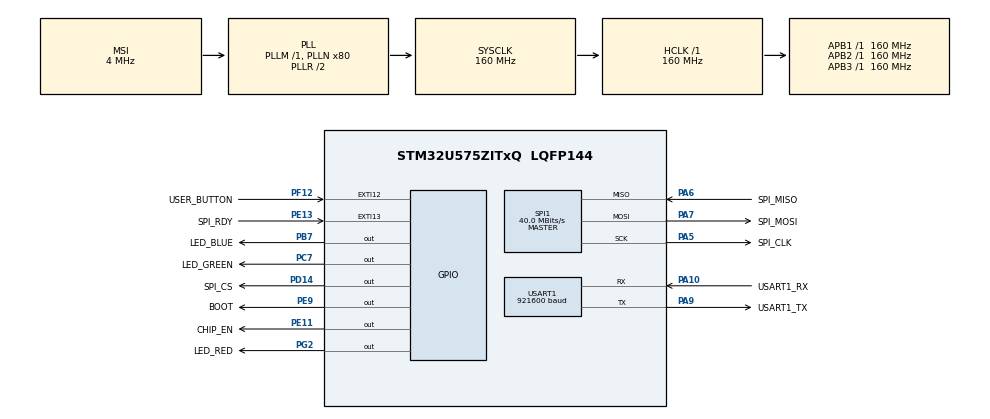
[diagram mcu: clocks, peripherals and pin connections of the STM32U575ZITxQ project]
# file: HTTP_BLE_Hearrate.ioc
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CORTEX_M33_NS.userName=CORTEX_M33
ICACHE.BAR=external_2
ICACHE.Region=ICACHE_REGION_0
Mcu.Family=STM32U5
Mcu.Name=STM32U575ZITxQ
Mcu.Package=LQFP144
NVIC.EXTI12_IRQn=true\:0\:0\:false\:false\:true\:true\:true\:true
NVIC.EXTI13_IRQn=true\:0\:0\:false\:false\:true\:true\:true\:true
NVIC.PriorityGroup=NVIC_PRIORITYGROUP_4
NVIC.TIM1_UP_IRQn=true\:0\:0\:false\:false\:true\:true\:true\:true
NVIC.USART1_IRQn=true\:7\:0\:true\:false\:true\:true\:true\:true
PA10.GPIO_Label=USART1_RX
PA10.GPIO_PuPd=GPIO_NOPULL
PA10.GPIO_Speed=GPIO_SPEED_FREQ_VERY_HIGH
PA10.Mode=Asynchronous
PA10.Signal=USART1_RX
PA13\ (JTMS/SWDIO).Mode=Trace_Asynchronous_SW
PA13\ (JTMS/SWDIO).Signal=DEBUG_JTMS-SWDIO
PA14\ (JTCK/SWCLK).Mode=Trace_Asynchronous_SW
PA14\ (JTCK/SWCLK).Signal=DEBUG_JTCK-SWCLK
PA5.GPIO_Label=SPI_CLK
PA5.GPIO_Speed=GPIO_SPEED_FREQ_VERY_HIGH
PA5.Mode=Full_Duplex_Master
PA5.Signal=SPI1_SCK
PA6.GPIO_Label=SPI_MISO
PA6.GPIO_Speed=GPIO_SPEED_FREQ_VERY_HIGH
PA6.Mode=Full_Duplex_Master
PA6.Signal=SPI1_MISO
PA7.GPIO_Label=SPI_MOSI
PA7.GPIO_Speed=GPIO_SPEED_FREQ_VERY_HIGH
PA7.Mode=Full_Duplex_Master
PA7.Signal=SPI1_MOSI
PA9.GPIO_Label=USART1_TX
PA9.GPIO_PuPd=GPIO_NOPULL
PA9.GPIO_Speed=GPIO_SPEED_FREQ_VERY_HIGH
PA9.Mode=Asynchronous
PA9.Signal=USART1_TX
PB3\ (JTDO/TRACESWO).Mode=Trace_Asynchronous_SW
PB3\ (JTDO/TRACESWO).Signal=DEBUG_JTDO-SWO
PB7.GPIO_Label=LED_BLUE
PB7.GPIO_ModeDefaultOutputPP=GPIO_MODE_OUTPUT_PP
PB7.GPIO_PuPd=GPIO_NOPULL
PB7.GPIO_Speed=GPIO_SPEED_FREQ_LOW
PB7.Signal=GPIO_Output
PC14-OSC32_IN\ (PC14).Mode=LSE-External-Oscillator
PC14-OSC32_IN\ (PC14).Signal=RCC_OSC32_IN
PC15-OSC32_OUT\ (PC15).Mode=LSE-External-Oscillator
PC15-OSC32_OUT\ (PC15).Signal=RCC_OSC32_OUT
PC7.GPIO_Label=LED_GREEN
PC7.GPIO_PuPd=GPIO_NOPULL
PC7.GPIO_Speed=GPIO_SPEED_FREQ_LOW
PC7.Signal=GPIO_Output
PD14.GPIO_Label=SPI_CS
PD14.GPIO_PuPd=GPIO_NOPULL
PD14.GPIO_Speed=GPIO_SPEED_FREQ_HIGH
PD14.Signal=GPIO_Output
PE11.GPIO_Label=CHIP_EN
PE11.GPIO_Speed=GPIO_SPEED_FREQ_HIGH
PE11.Signal=GPIO_Output
PE13.GPIO_Label=SPI_RDY
PE13.GPIO_ModeDefaultEXTI=GPIO_MODE_IT_RISING_FALLING
PE13.Signal=GPXTI13
PE9.GPIO_Label=BOOT
PE9.Signal=GPIO_Output
PF12.GPIO_Label=USER_BUTTON
PF12.GPIO_ModeDefaultEXTI=GPIO_MODE_IT_FALLING
PF12.GPIO_PuPd=GPIO_PULLUP
PF12.Signal=GPXTI12
PG2.GPIO_Label=LED_RED
PG2.GPIO_ModeDefaultOutputPP=GPIO_MODE_OUTPUT_PP
PG2.GPIO_PuPd=GPIO_NOPULL
PG2.GPIO_Speed=GPIO_SPEED_FREQ_LOW
PG2.Signal=GPIO_Output
PWR.PowerMode=PWR_SMPS_SUPPLY
ProjectManager.HeapSize=0x200
ProjectManager.StackSize=0x400
ProjectManager.TargetToolchain=STM32CubeIDE
RCC.ADCFreq_Value=16000000
RCC.AHBFreq_Value=160000000
RCC.APB1Freq_Value=160000000
RCC.APB1TimFreq_Value=160000000
RCC.APB2Freq_Value=160000000
RCC.APB2TimFreq_Value=160000000
RCC.APB3Freq_Value=160000000
RCC.CortexFreq_Value=160000000
RCC.DACCLockSelectionVirtual=RCC_DAC1CLKSOURCE_LSI
RCC.EPOD_VALUE=4000000
RCC.HCLKFreq_Value=160000000
RCC.HSE_VALUE=16000000
RCC.HSI48_VALUE=48000000
RCC.HSI_VALUE=16000000
RCC.LPTIM1CLockSelectionVirtual=RCC_LPTIM1CLKSOURCE_LSE
RCC.LSIDIV_VALUE=32000
RCC.MSI_VALUE=4000000
RCC.PLLN=80
RCC.SYSCLKFreq_VALUE=160000000
RCC.SYSCLKSource=RCC_SYSCLKSOURCE_PLLCLK
RCC.USBFreq_Value=48000000
RCC.VCOOutputFreq_Value=320000000
SPI1.BaudRatePrescaler=SPI_BAUDRATEPRESCALER_4
SPI1.CalculateBaudRate=40.0 MBits/s
SPI1.DataSize=SPI_DATASIZE_8BIT
SPI1.Direction=SPI_DIRECTION_2LINES
SPI1.Mode=SPI_MODE_MASTER
SPI1.VirtualType=VM_MASTER
TIM1.AutoReloadPreload=TIM_AUTORELOAD_PRELOAD_ENABLE
TIM1.PeriodNoDither=9999
TIM1.Prescaler=15999
USART1.BaudRate=921600
USART1.FIFOMode=FIFOMODE_ENABLE
USART1.TXFIFOThreshold=TXFIFO_THRESHOLD_EMPTY
USART1.VirtualMode-Asynchronous=VM_ASYNC
VP_ICACHE_VS_ENABLE_ICACHE_MEMORY.Mode=Memoryregions
VP_ICACHE_VS_ICACHE.Mode=DirectMappedCache
VP_LPBAMQUEUE_VS_QUEUE.Mode=QUEUEMODE
VP_LPBAM_VS_SIG1.Mode=SmartRun
VP_LPBAM_VS_SIG4.Mode=LPDMA1
VP_MEMORYMAP_VS_MEMORYMAP.Mode=CurAppReg
VP_PWR_VS_DBSignals.Mode=DisableDeadBatterySignals
VP_PWR_VS_LPOM.Mode=PowerOptimisation
VP_PWR_VS_SECSignals.Mode=Security/Privilege
VP_TIM1_VS_ClockSourceINT.Mode=Internal
board=NUCLEO-U575ZI-Q

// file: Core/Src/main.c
/* USER CODE BEGIN Header */
/**
  ******************************************************************************
  * @file           : main.c
  * @brief          : Main program body
  ******************************************************************************
  * @attention
  *
  * Copyright (c) 2025 STMicroelectronics.
  * All rights reserved.
  *
  * This software is licensed under terms that can be found in the LICENSE file
  * in the root directory of this software component.
  * If no LICENSE file comes with this software, it is provided AS-IS.
  *
  ******************************************************************************
  */
/* USER CODE END Header */
#include "main.h"

/* USER CODE BEGIN Includes */
#include "spi_iface.h"
#include "heartrate.h"

/* USER CODE END Includes */

SPI_HandleTypeDef hspi1;

TIM_HandleTypeDef htim1;

UART_HandleTypeDef huart1;

/* USER CODE BEGIN PV */
volatile uint8_t wait_for_ip_report = 0;
volatile uint8_t data_received_event = 0;
volatile uint8_t tim_update_event = 0;
char *data_received_ptr = NULL;

/* USER CODE END PV */

void SystemClock_Config(void);
static void SystemPower_Config(void);
static void MX_GPIO_Init(void);
static void MX_ICACHE_Init(void);
static void MX_SPI1_Init(void);
static void MX_USART1_UART_Init(void);
static void MX_TIM1_Init(void);
/* USER CODE BEGIN PFP */
static void report_callback(char *report, int32_t report_len);
void parse_data_received_event(char *data, uint32_t *socket_id, uint32_t *data_len);

/* USER CODE END PFP */

/* USER CODE BEGIN 0 */
#if defined(__ICCARM__)
size_t __write(int file, unsigned char const *ptr, size_t len)
{
  size_t idx;
  unsigned char const *pdata = ptr;
  /* USER CODE BEGIN __write_1 */

  /* USER CODE END __write_1 */

  HAL_UART_Transmit(&huart2, pdata, len, 10000);
  return len;
  /* USER CODE BEGIN __write_End */

  /* USER CODE END __write_End */
}
#else

#if defined ( __GNUC__) && !defined(__clang__)
/* With GCC, small printf (option LD Linker->Libraries->Small printf
   set to 'Yes') calls __io_putchar() */
#define PUTCHAR_PROTOTYPE int __io_putchar(int ch)
#else
#define PUTCHAR_PROTOTYPE int fputc(int ch, FILE *f)
#endif

PUTCHAR_PROTOTYPE
{
  /* USER CODE BEGIN PUTCHAR_PROTOTYPE_1 */

  /* USER CODE END PUTCHAR_PROTOTYPE_1 */
  HAL_UART_Transmit(&huart1, (unsigned char *)&ch, 1, 1000);
  return ch;
  /* USER CODE BEGIN PUTCHAR_PROTOTYPE_End */

  /* USER CODE END PUTCHAR_PROTOTYPE_End */
}
#endif /* __ICCARM__ */

/* USER CODE END 0 */

int main(void)
{

  /* MCU Configuration--------------------------------------------------------*/

  /* Reset of all peripherals, Initializes the Flash interface and the Systick. */
  HAL_Init();

  /* Configure the System Power */
  SystemPower_Config();

  /* Configure the system clock */
  SystemClock_Config();

  /* Initialize all configured peripherals */
  MX_GPIO_Init();
  MX_ICACHE_Init();
  MX_SPI1_Init();
  MX_USART1_UART_Init();
  MX_TIM1_Init();
  /* USER CODE BEGIN 2 */
  int32_t ret = 0;
  char *resp = NULL;

  ret = spi_iface_init(&report_callback);

  spi_iface_command("AT+PWR=0", &resp);
  free(resp);

  HRSAPP_Init();
  HAL_TIM_Base_Start_IT(&htim1);

  /* USER CODE END 2 */

  /* Infinite loop */
  /* USER CODE BEGIN WHILE */
  uint32_t socket_id, data_len;

  while (1)
  {
	  if (data_received_event)
	  {
		  parse_data_received_event(data_received_ptr, &socket_id, &data_len);

		  free(data_received_ptr);
		  data_received_ptr = NULL;
		  data_received_event = 0;

		  HRSAPP_Http_Request(socket_id, data_len);
	  }
	  if (tim_update_event)
	  {
		  HRSAPP_Measurement();
		  tim_update_event = 0;
	  }
    /* USER CODE END WHILE */

  }
}

void SystemClock_Config(void)
{
  RCC_OscInitTypeDef RCC_OscInitStruct = {0};
  RCC_ClkInitTypeDef RCC_ClkInitStruct = {0};

  /** Configure the main internal regulator output voltage
  */
  if (HAL_PWREx_ControlVoltageScaling(PWR_REGULATOR_VOLTAGE_SCALE1) != HAL_OK)
  {
    Error_Handler();
  }

  /** Initializes the CPU, AHB and APB buses clocks
  */
  RCC_OscInitStruct.OscillatorType = RCC_OSCILLATORTYPE_MSI;
  RCC_OscInitStruct.MSIState = RCC_MSI_ON;
  RCC_OscInitStruct.MSICalibrationValue = RCC_MSICALIBRATION_DEFAULT;
  RCC_OscInitStruct.MSIClockRange = RCC_MSIRANGE_4;
  RCC_OscInitStruct.PLL.PLLState = RCC_PLL_ON;
  RCC_OscInitStruct.PLL.PLLSource = RCC_PLLSOURCE_MSI;
  RCC_OscInitStruct.PLL.PLLMBOOST = RCC_PLLMBOOST_DIV1;
  RCC_OscInitStruct.PLL.PLLM = 1;
  RCC_OscInitStruct.PLL.PLLN = 80;
  RCC_OscInitStruct.PLL.PLLP = 2;
  RCC_OscInitStruct.PLL.PLLQ = 2;
  RCC_OscInitStruct.PLL.PLLR = 2;
  RCC_OscInitStruct.PLL.PLLRGE = RCC_PLLVCIRANGE_0;
  RCC_OscInitStruct.PLL.PLLFRACN = 0;
  if (HAL_RCC_OscConfig(&RCC_OscInitStruct) != HAL_OK)
  {
    Error_Handler();
  }

  /** Initializes the CPU, AHB and APB buses clocks
  */
  RCC_ClkInitStruct.ClockType = RCC_CLOCKTYPE_HCLK|RCC_CLOCKTYPE_SYSCLK
                              |RCC_CLOCKTYPE_PCLK1|RCC_CLOCKTYPE_PCLK2
                              |RCC_CLOCKTYPE_PCLK3;
  RCC_ClkInitStruct.SYSCLKSource = RCC_SYSCLKSOURCE_PLLCLK;
  RCC_ClkInitStruct.AHBCLKDivider = RCC_SYSCLK_DIV1;
  RCC_ClkInitStruct.APB1CLKDivider = RCC_HCLK_DIV1;
  RCC_ClkInitStruct.APB2CLKDivider = RCC_HCLK_DIV1;
  RCC_ClkInitStruct.APB3CLKDivider = RCC_HCLK_DIV1;

  if (HAL_RCC_ClockConfig(&RCC_ClkInitStruct, FLASH_LATENCY_4) != HAL_OK)
  {
    Error_Handler();
  }
}

/**
  * @brief Power Configuration
  * @retval None
  */
static void SystemPower_Config(void)
{
  HAL_PWREx_EnableVddIO2();

  /*
   * Disable the internal Pull-Up in Dead Battery pins of UCPD peripheral
   */
  HAL_PWREx_DisableUCPDDeadBattery();

  /*
   * Switch to SMPS regulator instead of LDO
   */
  if (HAL_PWREx_ConfigSupply(PWR_SMPS_SUPPLY) != HAL_OK)
  {
    Error_Handler();
  }
}

static void MX_ICACHE_Init(void)
{

  ICACHE_RegionConfigTypeDef pRegionConfig = {0};

  /** Configure and enable region 0 for memory remapping
  */
  pRegionConfig.BaseAddress = 0x10000000;
  pRegionConfig.RemapAddress = 0x60000000;
  pRegionConfig.Size = ICACHE_REGIONSIZE_2MB;
  pRegionConfig.TrafficRoute = ICACHE_MASTER1_PORT;
  pRegionConfig.OutputBurstType = ICACHE_OUTPUT_BURST_WRAP;
  if (HAL_ICACHE_EnableRemapRegion(ICACHE_REGION_0, &pRegionConfig) != HAL_OK)
  {
    Error_Handler();
  }

  /** Enable instruction cache in 1-way (direct mapped cache)
  */
  if (HAL_ICACHE_ConfigAssociativityMode(ICACHE_1WAY) != HAL_OK)
  {
    Error_Handler();
  }
  if (HAL_ICACHE_Enable() != HAL_OK)
  {
    Error_Handler();
  }

}

static void MX_SPI1_Init(void)
{

  SPI_AutonomousModeConfTypeDef HAL_SPI_AutonomousMode_Cfg_Struct = {0};

  /* SPI1 parameter configuration*/
  hspi1.Instance = SPI1;
  hspi1.Init.Mode = SPI_MODE_MASTER;
  hspi1.Init.Direction = SPI_DIRECTION_2LINES;
  hspi1.Init.DataSize = SPI_DATASIZE_8BIT;
  hspi1.Init.CLKPolarity = SPI_POLARITY_LOW;
  hspi1.Init.CLKPhase = SPI_PHASE_1EDGE;
  hspi1.Init.NSS = SPI_NSS_SOFT;
  hspi1.Init.BaudRatePrescaler = SPI_BAUDRATEPRESCALER_4;
  hspi1.Init.FirstBit = SPI_FIRSTBIT_MSB;
  hspi1.Init.TIMode = SPI_TIMODE_DISABLE;
  hspi1.Init.CRCCalculation = SPI_CRCCALCULATION_DISABLE;
  hspi1.Init.CRCPolynomial = 0x7;
  hspi1.Init.NSSPMode = SPI_NSS_PULSE_ENABLE;
  hspi1.Init.NSSPolarity = SPI_NSS_POLARITY_LOW;
  hspi1.Init.FifoThreshold = SPI_FIFO_THRESHOLD_01DATA;
  hspi1.Init.MasterSSIdleness = SPI_MASTER_SS_IDLENESS_00CYCLE;
  hspi1.Init.MasterInterDataIdleness = SPI_MASTER_INTERDATA_IDLENESS_00CYCLE;
  hspi1.Init.MasterReceiverAutoSusp = SPI_MASTER_RX_AUTOSUSP_DISABLE;
  hspi1.Init.MasterKeepIOState = SPI_MASTER_KEEP_IO_STATE_DISABLE;
  hspi1.Init.IOSwap = SPI_IO_SWAP_DISABLE;
  hspi1.Init.ReadyMasterManagement = SPI_RDY_MASTER_MANAGEMENT_INTERNALLY;
  hspi1.Init.ReadyPolarity = SPI_RDY_POLARITY_HIGH;
  if (HAL_SPI_Init(&hspi1) != HAL_OK)
  {
    Error_Handler();
  }
  HAL_SPI_AutonomousMode_Cfg_Struct.TriggerState = SPI_AUTO_MODE_DISABLE;
  HAL_SPI_AutonomousMode_Cfg_Struct.TriggerSelection = SPI_GRP1_GPDMA_CH0_TCF_TRG;
  HAL_SPI_AutonomousMode_Cfg_Struct.TriggerPolarity = SPI_TRIG_POLARITY_RISING;
  if (HAL_SPIEx_SetConfigAutonomousMode(&hspi1, &HAL_SPI_AutonomousMode_Cfg_Struct) != HAL_OK)
  {
    Error_Handler();
  }

}

static void MX_TIM1_Init(void)
{

  TIM_ClockConfigTypeDef sClockSourceConfig = {0};
  TIM_MasterConfigTypeDef sMasterConfig = {0};

  htim1.Instance = TIM1;
  htim1.Init.Prescaler = 15999;
  htim1.Init.CounterMode = TIM_COUNTERMODE_UP;
  htim1.Init.Period = 9999;
  htim1.Init.ClockDivision = TIM_CLOCKDIVISION_DIV1;
  htim1.Init.RepetitionCounter = 0;
  htim1.Init.AutoReloadPreload = TIM_AUTORELOAD_PRELOAD_ENABLE;
  if (HAL_TIM_Base_Init(&htim1) != HAL_OK)
  {
    Error_Handler();
  }
  sClockSourceConfig.ClockSource = TIM_CLOCKSOURCE_INTERNAL;
  if (HAL_TIM_ConfigClockSource(&htim1, &sClockSourceConfig) != HAL_OK)
  {
    Error_Handler();
  }
  sMasterConfig.MasterOutputTrigger = TIM_TRGO_RESET;
  sMasterConfig.MasterOutputTrigger2 = TIM_TRGO2_RESET;
  sMasterConfig.MasterSlaveMode = TIM_MASTERSLAVEMODE_DISABLE;
  if (HAL_TIMEx_MasterConfigSynchronization(&htim1, &sMasterConfig) != HAL_OK)
  {
    Error_Handler();
  }

}

static void MX_USART1_UART_Init(void)
{

  huart1.Instance = USART1;
  huart1.Init.BaudRate = 921600;
  huart1.Init.WordLength = UART_WORDLENGTH_8B;
  huart1.Init.StopBits = UART_STOPBITS_1;
  huart1.Init.Parity = UART_PARITY_NONE;
  huart1.Init.Mode = UART_MODE_TX_RX;
  huart1.Init.HwFlowCtl = UART_HWCONTROL_NONE;
  huart1.Init.OverSampling = UART_OVERSAMPLING_16;
  huart1.Init.OneBitSampling = UART_ONE_BIT_SAMPLE_DISABLE;
  huart1.Init.ClockPrescaler = UART_PRESCALER_DIV1;
  huart1.AdvancedInit.AdvFeatureInit = UART_ADVFEATURE_NO_INIT;
  if (HAL_UART_Init(&huart1) != HAL_OK)
  {
    Error_Handler();
  }
  if (HAL_UARTEx_SetTxFifoThreshold(&huart1, UART_TXFIFO_THRESHOLD_8_8) != HAL_OK)
  {
    Error_Handler();
  }
  if (HAL_UARTEx_SetRxFifoThreshold(&huart1, UART_RXFIFO_THRESHOLD_1_8) != HAL_OK)
  {
    Error_Handler();
  }
  if (HAL_UARTEx_EnableFifoMode(&huart1) != HAL_OK)
  {
    Error_Handler();
  }

}

static void MX_GPIO_Init(void)
{
  GPIO_InitTypeDef GPIO_InitStruct = {0};

  /* GPIO Ports Clock Enable */
  __HAL_RCC_GPIOC_CLK_ENABLE();
  __HAL_RCC_GPIOA_CLK_ENABLE();
  __HAL_RCC_GPIOF_CLK_ENABLE();
  __HAL_RCC_GPIOE_CLK_ENABLE();
  __HAL_RCC_GPIOD_CLK_ENABLE();
  __HAL_RCC_GPIOG_CLK_ENABLE();
  __HAL_RCC_GPIOB_CLK_ENABLE();

  /*Configure GPIO pin Output Level */
  HAL_GPIO_WritePin(GPIOE, BOOT_Pin|CHIP_EN_Pin, GPIO_PIN_RESET);

  /*Configure GPIO pin Output Level */
  HAL_GPIO_WritePin(SPI_CS_GPIO_Port, SPI_CS_Pin, GPIO_PIN_RESET);

  /*Configure GPIO pin Output Level */
  HAL_GPIO_WritePin(LED_RED_GPIO_Port, LED_RED_Pin, GPIO_PIN_RESET);

  /*Configure GPIO pin Output Level */
  HAL_GPIO_WritePin(LED_GREEN_GPIO_Port, LED_GREEN_Pin, GPIO_PIN_RESET);

  /*Configure GPIO pin Output Level */
  HAL_GPIO_WritePin(LED_BLUE_GPIO_Port, LED_BLUE_Pin, GPIO_PIN_RESET);

  /*Configure GPIO pin : USER_BUTTON_Pin */
  GPIO_InitStruct.Pin = USER_BUTTON_Pin;
  GPIO_InitStruct.Mode = GPIO_MODE_IT_FALLING;
  GPIO_InitStruct.Pull = GPIO_PULLUP;
  HAL_GPIO_Init(USER_BUTTON_GPIO_Port, &GPIO_InitStruct);

  /*Configure GPIO pin : BOOT_Pin */
  GPIO_InitStruct.Pin = BOOT_Pin;
  GPIO_InitStruct.Mode = GPIO_MODE_OUTPUT_PP;
  GPIO_InitStruct.Pull = GPIO_NOPULL;
  GPIO_InitStruct.Speed = GPIO_SPEED_FREQ_LOW;
  HAL_GPIO_Init(BOOT_GPIO_Port, &GPIO_InitStruct);

  /*Configure GPIO pin : CHIP_EN_Pin */
  GPIO_InitStruct.Pin = CHIP_EN_Pin;
  GPIO_InitStruct.Mode = GPIO_MODE_OUTPUT_PP;
  GPIO_InitStruct.Pull = GPIO_NOPULL;
  GPIO_InitStruct.Speed = GPIO_SPEED_FREQ_HIGH;
  HAL_GPIO_Init(CHIP_EN_GPIO_Port, &GPIO_InitStruct);

  /*Configure GPIO pin : SPI_RDY_Pin */
  GPIO_InitStruct.Pin = SPI_RDY_Pin;
  GPIO_InitStruct.Mode = GPIO_MODE_IT_RISING_FALLING;
  GPIO_InitStruct.Pull = GPIO_NOPULL;
  HAL_GPIO_Init(SPI_RDY_GPIO_Port, &GPIO_InitStruct);

  /*Configure GPIO pin : SPI_CS_Pin */
  GPIO_InitStruct.Pin = SPI_CS_Pin;
  GPIO_InitStruct.Mode = GPIO_MODE_OUTPUT_PP;
  GPIO_InitStruct.Pull = GPIO_NOPULL;
  GPIO_InitStruct.Speed = GPIO_SPEED_FREQ_HIGH;
  HAL_GPIO_Init(SPI_CS_GPIO_Port, &GPIO_InitStruct);

  /*Configure GPIO pin : LED_RED_Pin */
  GPIO_InitStruct.Pin = LED_RED_Pin;
  GPIO_InitStruct.Mode = GPIO_MODE_OUTPUT_PP;
  GPIO_InitStruct.Pull = GPIO_NOPULL;
  GPIO_InitStruct.Speed = GPIO_SPEED_FREQ_LOW;
  HAL_GPIO_Init(LED_RED_GPIO_Port, &GPIO_InitStruct);

  /*Configure GPIO pin : LED_GREEN_Pin */
  GPIO_InitStruct.Pin = LED_GREEN_Pin;
  GPIO_InitStruct.Mode = GPIO_MODE_OUTPUT_PP;
  GPIO_InitStruct.Pull = GPIO_NOPULL;
  GPIO_InitStruct.Speed = GPIO_SPEED_FREQ_LOW;
  HAL_GPIO_Init(LED_GREEN_GPIO_Port, &GPIO_InitStruct);

  /*Configure GPIO pin : LED_BLUE_Pin */
  GPIO_InitStruct.Pin = LED_BLUE_Pin;
  GPIO_InitStruct.Mode = GPIO_MODE_OUTPUT_PP;
  GPIO_InitStruct.Pull = GPIO_NOPULL;
  GPIO_InitStruct.Speed = GPIO_SPEED_FREQ_LOW;
  HAL_GPIO_Init(LED_BLUE_GPIO_Port, &GPIO_InitStruct);

  /* EXTI interrupt init*/
  HAL_NVIC_SetPriority(EXTI12_IRQn, 0, 0);
  HAL_NVIC_EnableIRQ(EXTI12_IRQn);

  HAL_NVIC_SetPriority(EXTI13_IRQn, 0, 0);
  HAL_NVIC_EnableIRQ(EXTI13_IRQn);

}

/* USER CODE BEGIN 4 */
static void report_callback(char *report, int32_t report_len)
{
	// ignore the 'busy' messages
	if (report_len == 14 && strncmp(report, "\r\nbusy p...\r\n", 14) == 0) {free(report); return;}

	printf("Report: %s", report);

	if (wait_for_ip_report == 1 && report_len == 12)
	{
		if (strncmp(report, "+CW:GOTIP\r\n", 12) == 0) wait_for_ip_report = 0;
	}
	else if (strncmp(report, "+IPD:", 5) == 0)
	{
		data_received_ptr = calloc(report_len, 1);
		memcpy(data_received_ptr, report, report_len);
		data_received_event = 1;
	}
	else if (strncmp(report, "+BLE:CONNECTED:", 15) == 0)
	{
		HRSAPP_OnConnection(true);
	}
	else if (strncmp(report, "+BLE:DISCONNECTED:", 18) == 0)
	{
		HRSAPP_OnDisconnection(true);
	}

	free(report);
}

void parse_data_received_event(char *data, uint32_t *socket_id, uint32_t *data_len)
{
	sscanf(data, "+IPD:%lu,%lu", socket_id, data_len);
}

void HAL_TIM_PeriodElapsedCallback(TIM_HandleTypeDef *htim)
{
    if (htim->Instance == TIM1)
    {
    	tim_update_event = 1;
    }
}

void HAL_GPIO_EXTI_Rising_Callback(uint16_t pin)
{
  /* USER CODE BEGIN EXTI_Rising_Callback_1 */

  /* USER CODE END EXTI_Rising_Callback_1 */
  /* Callback when data is available in Network CoProcessor to enable SPI Clock */
  if (pin == SPI_RDY_Pin)
  {
	  spi_iface_ncp_ready_high();
  }
  /* USER CODE BEGIN EXTI_Rising_Callback_End */

  /* USER CODE END EXTI_Rising_Callback_End */
}

void HAL_GPIO_EXTI_Falling_Callback(uint16_t pin)
{
  /* USER CODE BEGIN EXTI_Falling_Callback_1 */

  /* USER CODE END EXTI_Falling_Callback_1 */
  /* Callback when data is available in Network CoProcessor to enable SPI Clock */
  if (pin == SPI_RDY_Pin)
  {
	  spi_iface_ncp_ready_low();
  }

  /* Callback when user button is pressed */
  if (pin == USER_BUTTON_Pin)
  {

  }
  /* USER CODE BEGIN EXTI_Falling_Callback_End */

  /* USER CODE END EXTI_Falling_Callback_End */
}

/* USER CODE END 4 */

void Error_Handler(void)
{
  __disable_irq();
  while (1)
  {
  }
}
